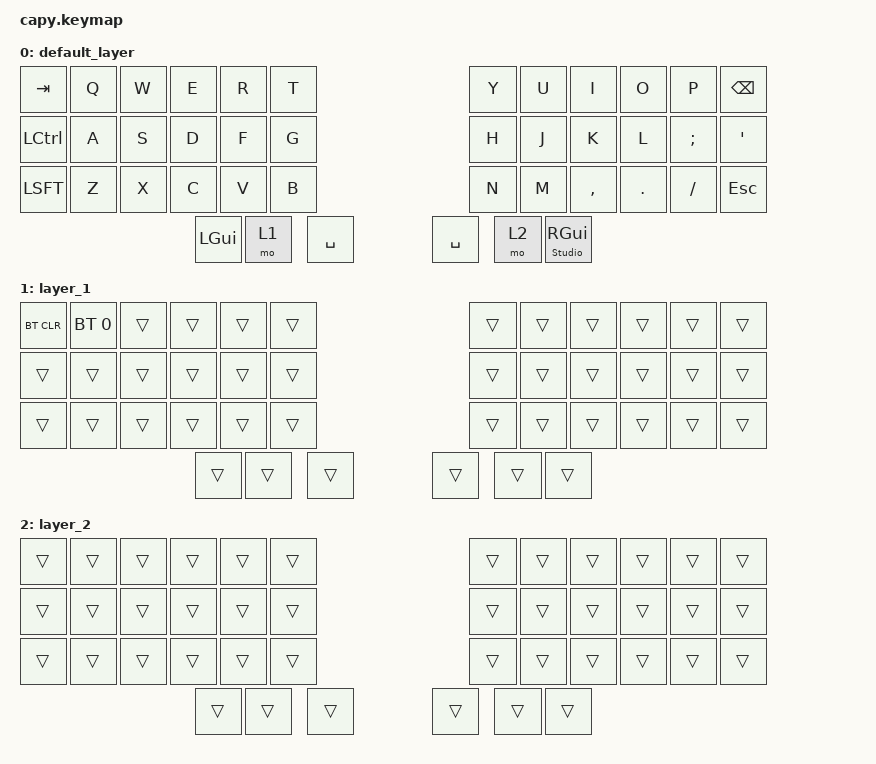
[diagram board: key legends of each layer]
#include <behaviors.dtsi>
#include <dt-bindings/zmk/keys.h>
#include <dt-bindings/zmk/bt.h>

/ {

	behaviors {
		studio_unlock_tap: studio_unlock_tap {
			compatible = "zmk,behavior-hold-tap";
			#binding-cells = <2>;
			tapping-term-ms = <200>;
			bindings = <&studio_unlock>, <&kp>;
		};
	};

	keymap {
		compatible = "zmk,keymap";

		default_layer {
			bindings = <
				&kp TAB &kp Q &kp W &kp E &kp R &kp T	&kp Y &kp U &kp I &kp O &kp P &kp BSPC
				&kp LCTL &kp A &kp S &kp D &kp F &kp G	&kp H &kp J &kp K &kp L &kp SEMI &kp SQT
				&kp LSFT &kp Z &kp X &kp C &kp V &kp B	&kp N &kp M &kp COMMA &kp DOT &kp FSLH &kp ESC
									&kp LGUI &mo 1 &kp SPC	&kp SPC &mo 2 &studio_unlock_tap 0 RGUI
			>;

		};
		
		layer_1 {
			bindings = <
				&bt BT_CLR &bt BT_SEL 0 &trans &trans &trans &trans	&trans &trans &trans &trans &trans &trans
				&trans &trans &trans &trans &trans &trans	&trans &trans &trans &trans &trans &trans
				&trans &trans &trans &trans &trans &trans	&trans &trans &trans &trans &trans &trans
									&trans &trans &trans	&trans &trans &trans
			>;

		};
		
		layer_2 {
			bindings = <
				&trans &trans &trans &trans &trans &trans	&trans &trans &trans &trans &trans &trans
				&trans &trans &trans &trans &trans &trans	&trans &trans &trans &trans &trans &trans
				&trans &trans &trans &trans &trans &trans	&trans &trans &trans &trans &trans &trans
									&trans &trans &trans	&trans &trans &trans
			>;

		};



	};
};
